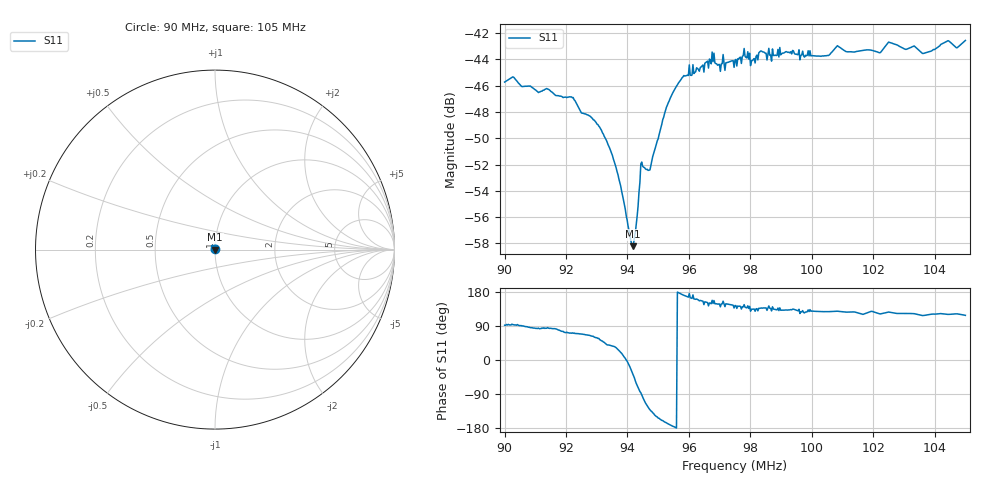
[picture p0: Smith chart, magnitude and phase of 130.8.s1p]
# HZ S RI R 50
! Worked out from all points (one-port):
!   505 points, 90 MHz to 105 MHz, reference 50 ohm
!   lowest |S11| = -58.2 dB at 94.17 MHz (marker M1), VSWR 1.00, Z = 50.1 - j0.0713 ohm
!   |S11| at or under -10 dB: start of sweep to end of sweep
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9e7  -0.000164 0.00517
9.026786e7  -0.000304 0.00541
9.187501e7  0.00114 0.0044
9.223215e7  0.00151 0.00426
9.309525e7  0.00206 0.00281
9.345239e7  0.00223 0.00175
9.375001e7  0.00198 0.000829
9.407739e7  0.00128 -0.000413
9.416668e7  0.001 -0.000712
9.425597e7  0.000789 -0.00114
9.44643e7  -9e-05 -0.00257
9.473216e7  -0.00159 -0.0018
9.526787e7  -0.00402 -0.00102
9.562502e7  -0.00505 6.85e-05
9.675597e7  -0.00622 0.00257
9.696431e7  -0.0051 0.00321
9.750002e7  -0.00505 0.00371
9.785717e7  -0.0048 0.00426
9.80655e7  -0.00434 0.00449
9.833336e7  -0.00496 0.00463
9.937503e7  -0.00475 0.0049
1.008631e8  -0.00441 0.00552
1.0125e8  -0.00402 0.00542
1.022024e8  -0.00354 0.00567
1.025298e8  -0.00432 0.00591
1.03125e8  -0.00377 0.00581
1.036608e8  -0.0031 0.0059
1.05e8  -0.00348 0.00659
